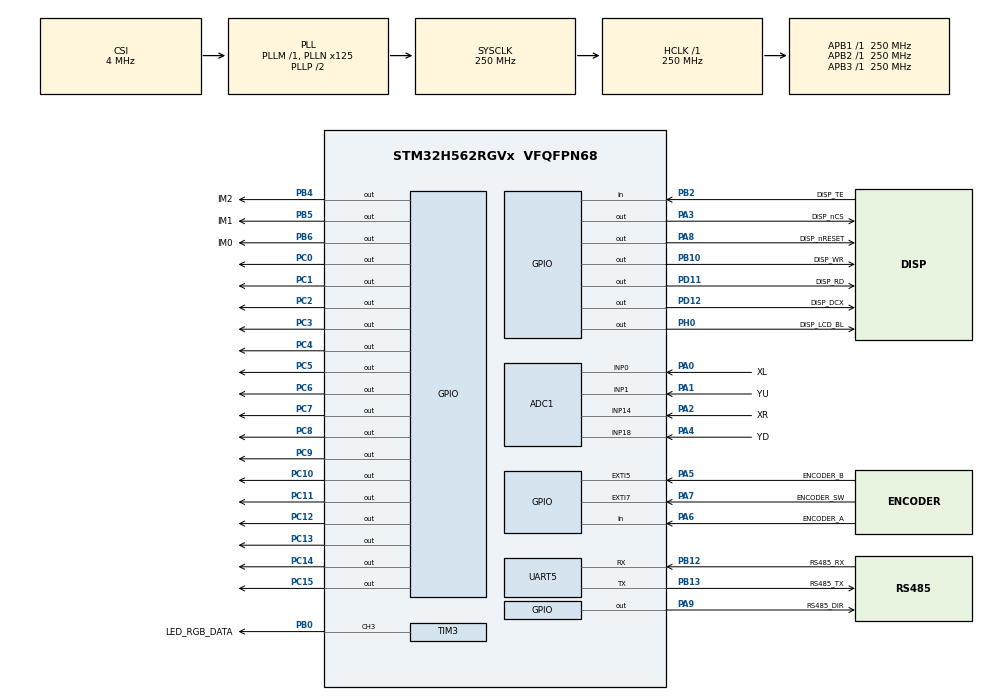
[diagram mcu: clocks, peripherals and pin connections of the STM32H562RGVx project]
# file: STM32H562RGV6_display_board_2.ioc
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ADC1.Channel-1\#ChannelRegularConversion=ADC_CHANNEL_0
ADC1.MonitoredBy-1\#ChannelRegularConversion=__NULL
ADC1.NbrOfConversionFlag=1
ADC1.OffsetNumber-1\#ChannelRegularConversion=ADC_OFFSET_NONE
ADC1.Rank-1\#ChannelRegularConversion=1
ADC1.SamplingTime-1\#ChannelRegularConversion=ADC_SAMPLETIME_2CYCLES_5
ADC1.master=1
BOOTPATH.BootPathName=LEGACY
BOOTPATH.UserSelectedBootPath=LEGACY
CORTEX_M33_NS.userName=CORTEX_M33
GPDMA1.DESTINC_GPDMACH0=DMA_DINC_FIXED
GPDMA1.DIRECTION_GPDMACH0=DMA_MEMORY_TO_PERIPH
GPDMA1.DIRECTION_GPDMACH2=DMA_MEMORY_TO_PERIPH
GPDMA1.IPHANDLE_GPDMACH0-SIMPLEREQUEST_GPDMACH0=__NULL
GPDMA1.IPHANDLE_GPDMACH2-SIMPLEREQUEST_GPDMACH2=__NULL
GPDMA1.REQUEST_GPDMACH0=GPDMA1_REQUEST_UART5_TX
GPDMA1.REQUEST_GPDMACH2=GPDMA1_REQUEST_TIM3_CH3
GPDMA1.SRCINC_GPDMACH0=DMA_SINC_INCREMENTED
GPDMA1.SRCINC_GPDMACH2=DMA_SINC_INCREMENTED
Mcu.Family=STM32H5
Mcu.Name=STM32H562RGVx
Mcu.Package=VFQFPN68
NVIC.EXTI5_IRQn=true\:15\:0\:true\:false\:true\:true\:true\:true
NVIC.EXTI7_IRQn=true\:0\:0\:false\:false\:true\:true\:true\:true
NVIC.GPDMA1_Channel0_IRQn=true\:0\:0\:false\:false\:true\:false\:true\:true
NVIC.GPDMA1_Channel2_IRQn=true\:0\:0\:false\:false\:true\:false\:true\:true
NVIC.PriorityGroup=NVIC_PRIORITYGROUP_4
NVIC.TIM1_UP_IRQn=true\:0\:0\:false\:false\:true\:true\:true\:true
NVIC.TIM6_IRQn=true\:0\:0\:false\:false\:true\:true\:true\:true
NVIC.UART5_IRQn=true\:0\:0\:true\:false\:true\:true\:true\:true
PA0.GPIO_Label=XL
PA0.Signal=ADCx_INP0
PA1.GPIO_Label=YU
PA1.Signal=ADCx_INP1
PA13(JTMS/SWDIO).Mode=Trace_Asynchronous_SW
PA13(JTMS/SWDIO).Signal=DEBUG_JTMS-SWDIO
PA14(JTCK/SWCLK).Mode=Trace_Asynchronous_SW
PA14(JTCK/SWCLK).Signal=DEBUG_JTCK-SWCLK
PA2.GPIO_Label=XR
PA2.Signal=ADCx_INP14
PA3.GPIO_Label=DISP_nCS
PA3.Signal=GPIO_Output
PA4.GPIO_Label=YD
PA4.Signal=ADCx_INP18
PA5.GPIO_Label=ENCODER_B
PA5.GPIO_ModeDefaultEXTI=GPIO_MODE_IT_FALLING
PA5.GPIO_PuPd=GPIO_PULLUP
PA5.Signal=GPXTI5
PA6.GPIO_Label=ENCODER_A
PA6.GPIO_PuPd=GPIO_PULLUP
PA6.Signal=GPIO_Input
PA7.GPIO_Label=ENCODER_SW
PA7.GPIO_ModeDefaultEXTI=GPIO_MODE_IT_FALLING
PA7.GPIO_PuPd=GPIO_PULLUP
PA7.Signal=GPXTI7
PA8.GPIO_Label=DISP_nRESET
PA8.PinState=GPIO_PIN_SET
PA8.Signal=GPIO_Output
PA9.GPIO_Label=RS485_DIR
PA9.Signal=GPIO_Output
PB0.GPIO_Label=LED_RGB_DATA
PB0.Signal=S_TIM3_CH3
PB10.GPIO_Label=DISP_WR
PB10.GPIO_Speed=GPIO_SPEED_FREQ_VERY_HIGH
PB10.PinState=GPIO_PIN_SET
PB10.Signal=GPIO_Output
PB12.GPIO_Label=RS485_RX
PB12.Mode=Asynchronous
PB12.Signal=UART5_RX
PB13.GPIO_Label=RS485_TX
PB13.Mode=Asynchronous
PB13.Signal=UART5_TX
PB2.GPIO_Label=DISP_TE
PB2.Signal=GPIO_Input
PB3(JTDO/TRACESWO).Mode=Trace_Asynchronous_SW
PB3(JTDO/TRACESWO).Signal=DEBUG_JTDO-SWO
PB4(NJTRST).GPIO_Label=IM2
PB4(NJTRST).GPIO_PuPd=GPIO_PULLDOWN
PB4(NJTRST).Signal=GPIO_Output
PB5.GPIO_Label=IM1
PB5.GPIO_PuPd=GPIO_PULLUP
PB5.PinState=GPIO_PIN_SET
PB5.Signal=GPIO_Output
PB6.GPIO_Label=IM0
PB6.GPIO_PuPd=GPIO_PULLUP
PB6.PinState=GPIO_PIN_SET
PB6.Signal=GPIO_Output
PC0.GPIO_Speed=GPIO_SPEED_FREQ_VERY_HIGH
PC0.Signal=GPIO_Output
PC1.GPIO_Speed=GPIO_SPEED_FREQ_VERY_HIGH
PC1.Signal=GPIO_Output
PC10.GPIO_Speed=GPIO_SPEED_FREQ_VERY_HIGH
PC10.Signal=GPIO_Output
PC11.GPIO_Speed=GPIO_SPEED_FREQ_VERY_HIGH
PC11.Signal=GPIO_Output
PC12.GPIO_Speed=GPIO_SPEED_FREQ_VERY_HIGH
PC12.Signal=GPIO_Output
PC13.GPIO_Speed=GPIO_SPEED_FREQ_LOW
PC13.Signal=GPIO_Output
PC14-OSC32_IN(OSC32_IN).Signal=GPIO_Output
PC15-OSC32_OUT(OSC32_OUT).Signal=GPIO_Output
PC2.GPIO_Speed=GPIO_SPEED_FREQ_VERY_HIGH
PC2.Signal=GPIO_Output
PC3.GPIO_Speed=GPIO_SPEED_FREQ_VERY_HIGH
PC3.Signal=GPIO_Output
PC4.GPIO_Speed=GPIO_SPEED_FREQ_VERY_HIGH
PC4.Signal=GPIO_Output
PC5.GPIO_Speed=GPIO_SPEED_FREQ_VERY_HIGH
PC5.Signal=GPIO_Output
PC6.GPIO_Speed=GPIO_SPEED_FREQ_VERY_HIGH
PC6.Signal=GPIO_Output
PC7.GPIO_Speed=GPIO_SPEED_FREQ_VERY_HIGH
PC7.Signal=GPIO_Output
PC8.GPIO_Speed=GPIO_SPEED_FREQ_VERY_HIGH
PC8.Signal=GPIO_Output
PC9.GPIO_Speed=GPIO_SPEED_FREQ_VERY_HIGH
PC9.Signal=GPIO_Output
PD11.GPIO_Label=DISP_RD
PD11.GPIO_Speed=GPIO_SPEED_FREQ_VERY_HIGH
PD11.PinState=GPIO_PIN_SET
PD11.Signal=GPIO_Output
PD12.GPIO_Label=DISP_DCX
PD12.GPIO_Speed=GPIO_SPEED_FREQ_VERY_HIGH
PD12.PinState=GPIO_PIN_SET
PD12.Signal=GPIO_Output
PH0-OSC_IN(PH0).GPIO_Label=DISP_LCD_BL
PH0-OSC_IN(PH0).Signal=GPIO_Output
ProjectManager.HeapSize=0x200
ProjectManager.StackSize=0x400
ProjectManager.TargetToolchain=STM32CubeIDE
RCC.ADCCLockSelection=RCC_ADCDACCLKSOURCE_HSI
RCC.ADCFreq_Value=32000000
RCC.AHBFreq_Value=250000000
RCC.APB1Freq_Value=250000000
RCC.APB1TimFreq_Value=250000000
RCC.APB2Freq_Value=250000000
RCC.APB2TimFreq_Value=250000000
RCC.APB3Freq_Value=250000000
RCC.CSI_VALUE=4000000
RCC.CortexFreq_Value=250000000
RCC.EPOD_VALUE=4000000
RCC.HCLKFreq_Value=250000000
RCC.HSE_VALUE=25000000
RCC.HSI48_VALUE=48000000
RCC.HSI_VALUE=64000000
RCC.LSE_VALUE=32768
RCC.LSIRC_VALUE=32000
RCC.PLL2FRACN=0
RCC.PLL3FRACN=0
RCC.PLLFRACN=0
RCC.PLLN=125
RCC.SYSCLKFreq_VALUE=250000000
RCC.SYSCLKSource=RCC_SYSCLKSOURCE_PLLCLK
RCC.USBFreq_Value=48000000
RCC.VCOOutputFreq_Value=500000000
SH.ADCx_INP0.0=ADC1_INP0,IN0-Single-Ended
SH.ADCx_INP1.0=ADC1_INP1,IN1-Single-Ended
SH.ADCx_INP14.0=ADC1_INP14,IN14-Single-Ended
SH.ADCx_INP18.0=ADC1_INP18,IN18-Single-Ended
SH.S_TIM3_CH3.0=TIM3_CH3,PWM Generation3 CH3
TIM1.PeriodNoDither=10000-1
TIM1.Prescaler=25000-1
TIM3.Channel-PWM\ Generation3\ CH3=TIM_CHANNEL_3
TIM3.PeriodNoDither=100-1
TIM3.Prescaler=2
TIM6.AutoReloadPreload=TIM_AUTORELOAD_PRELOAD_DISABLE
TIM6.PeriodNoDither=1000-1
TIM6.Prescaler=25000-1
UART5.Parity=PARITY_EVEN
UART5.WordLength=WORDLENGTH_9B
VP_BOOTPATH_VS_BOOTPATH.Mode=BP_Activate
VP_CORTEX_M33_NS_VS_Hclk.Mode=Hclk_Mode
VP_DCACHE1_VS_DCACHE.Mode=DCACHE_Activate
VP_GPDMA1_VS_GPDMACH0.Mode=SIMPLEREQUEST_GPDMACH0
VP_GPDMA1_VS_GPDMACH2.Mode=SIMPLEREQUEST_GPDMACH2
VP_ICACHE_VS_ENABLE_ICACHE_MEMORY.Mode=Memoryregions
VP_ICACHE_VS_ICACHE.Mode=DefaultMode
VP_MEMORYMAP_VS_MEMORYMAP.Mode=CurAppReg
VP_PWR_VS_DBSignals.Mode=DisableDeadBatterySignals
VP_PWR_VS_LPOM.Mode=PowerOptimisation
VP_PWR_VS_SECSignals.Mode=Security/Privilege
VP_TIM1_VS_ClockSourceINT.Mode=Internal
VP_TIM3_VS_ClockSourceINT.Mode=Internal
VP_TIM6_VS_ClockSourceINT.Mode=Enable_Timer
board=custom

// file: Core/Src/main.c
/* USER CODE BEGIN Header */
/**
 ******************************************************************************
 * @file           : main.c
 * @brief          : Main program body
 ******************************************************************************
 * @attention
 *
 * Copyright (c) 2025 STMicroelectronics.
 * All rights reserved.
 *
 * This software is licensed under terms that can be found in the LICENSE file
 * in the root directory of this software component.
 * If no LICENSE file comes with this software, it is provided AS-IS.
 *
 ******************************************************************************
 */
/* USER CODE END Header */
#include "main.h"

/* USER CODE BEGIN Includes */
#include "stm32h5xx_hal.h"
#include "stm32h5xx_it.h"

#include "global_variables.h"
#include "ili9488.h"
#include "GUI.h"
#include "modbus.h"
#include "ws2812.h"

#include <stdio.h>

/* USER CODE END Includes */

ADC_HandleTypeDef hadc1;

DCACHE_HandleTypeDef hdcache1;

TIM_HandleTypeDef htim1;
TIM_HandleTypeDef htim3;
TIM_HandleTypeDef htim6;
DMA_HandleTypeDef handle_GPDMA1_Channel2;

UART_HandleTypeDef huart5;
DMA_HandleTypeDef handle_GPDMA1_Channel0;

/* USER CODE BEGIN PV */

struct BMS_data_structure BMS_no1; // this structure holds all data read from BMS

// variables for rotary encoder
// Debounce delay times (in milliseconds)
#define AB_DEBOUNCE_DELAY_MS 50  // Short debounce for encoder A/B transitions
#define SW_DEBOUNCE_DELAY_MS 200 // Longer debounce for encoder push button

// Variables to track encoder position and debounce timing
volatile int16_t encoder_position = 0;
volatile uint8_t last_encoder_state = 0;
volatile uint32_t last_interrupt_time = 0; // Timestamp of last encoder A/B interrupt
volatile uint32_t last_sw_press_time = 0;  // Timestamp of last button press

// GUI variables
volatile uint8_t current_gui_screen = 1; // what GUI screen is now shown on LCD
volatile uint8_t new_gui_screen = 0;     // what GUI screen is now shown on LCD

// MODBUS variables

#ifdef LCD_IS_MODBUS_MASTER
uint8_t byte;
uint8_t response_buffer[UART_RX_BUFFER_SIZE];
volatile uint16_t response_index = 0;
volatile uint8_t modbus_receiving = 0;

// Dummy register storage
uint16_t modbus_registers[UART_RX_BUFFER_SIZE]; // Simulate up to 125 holding registers (max per Modbus spec)
#endif

// RGB led colors
uint32_t LED_colors[WS2812_LED_COUNT];

/* USER CODE END PV */

void SystemClock_Config(void);
static void MX_GPIO_Init(void);
static void MX_GPDMA1_Init(void);
static void MX_UART5_Init(void);
static void MX_ICACHE_Init(void);
static void MX_ADC1_Init(void);
static void MX_DCACHE1_Init(void);
static void MX_TIM1_Init(void);
static void MX_TIM6_Init(void);
static void MX_TIM3_Init(void);

/* USER CODE BEGIN 0 */

void Set_BMS_dummy_values(void)
{
  // set some dummy variables
  BMS_no1.SOC = 501;                   // in 0.1 percent
  BMS_no1.Stack_Voltage_mV = 55123;    // in mV
  BMS_no1.current_userA = 22666;       // in 0.01A
  BMS_no1.Power_W = 288;               // in W
  BMS_no1.Internal_Temperature_C = 23; // in deg C

  BMS_no1.Cell_1_voltage_mV = 1;   // in mV
  BMS_no1.Cell_2_voltage_mV = 2;   // in mV
  BMS_no1.Cell_3_voltage_mV = 3;   // in mV
  BMS_no1.Cell_4_voltage_mV = 4;   // in mV
  BMS_no1.Cell_5_voltage_mV = 5;   // in mV
  BMS_no1.Cell_6_voltage_mV = 6;   // in mV
  BMS_no1.Cell_7_voltage_mV = 7;   // in mV
  BMS_no1.Cell_8_voltage_mV = 8;   // in mV
  BMS_no1.Cell_9_voltage_mV = 9;   // in mV
  BMS_no1.Cell_10_voltage_mV = 10; // in mV
  BMS_no1.Cell_11_voltage_mV = 11; // in mV
  BMS_no1.Cell_12_voltage_mV = 12; // in mV
  BMS_no1.Cell_13_voltage_mV = 13; // in mV
  BMS_no1.Cell_14_voltage_mV = 14; // in mV
  BMS_no1.Cell_15_voltage_mV = 15; // in mV
  BMS_no1.Cell_16_voltage_mV = 16; // in mV
}

// ONE second timer
/*
void TIM1_BRK_UP_TRG_COM_IRQHandler(void)
{
    HAL_TIM_IRQHandler(&htim1);
}
*/

void HAL_TIM_PeriodElapsedCallback(TIM_HandleTypeDef *htim)
{
  // TIM1 calls every 1 second a periodic update
  // updates LCD etc.
  if (htim->Instance == TIM1)
  {
    if (current_gui_screen == 1)
    {
      if (new_gui_screen == 1)
      {
        ILI9488_FillScreen(BLACK); // redraw background color
        new_gui_screen = 0;
      }
      Plot_GUI_screen_2();
    }

    if (current_gui_screen == 2)
    {
      if (new_gui_screen == 1)
      {
        ILI9488_FillScreen(BLUE); // redraw background color
        new_gui_screen = 0;
      }
      Plot_GUI_screen_3();
    }

    // dummy update as demo
    // BMS_no1.SOC = BMS_no1.SOC + 1 ;

    // change RGB led color
    // to a random color
    // ws2812_send_random_color();	// 1 LED
    // ws2812_send_random_colors();	// 3 LEDs

    // ws2812_send_random_colors_with_brightness(50); // 3 LEDs with brightness control

    // Called every 1 second
    // WS2812_Send(LED_colors);
    // WS2812_send_random_colors();
    WS2812_send_random_colors_with_brightness(255); // LEDs with brightness control

#ifdef LCD_IS_MODBUS_MASTER
                                                    // LCD is MODBUS master
    Modbus_Request_ReadRegisters(0, 22); // Read first 22 registers from slave
#endif
  }

#ifdef LCD_IS_MODBUS_MASTER
  // LCD is MODBUS master
  // TIM6 handles UART receive IDLE line detection
  // after a MODBUS frame is received
  // when the line becomes idle after 100ms
  // the MODBUS packet is processed
  if (htim->Instance == TIM6 && modbus_receiving)
  {
    modbus_receiving = 0;
    HAL_TIM_Base_Stop_IT(&htim6);

    // Now the Modbus response is assumed complete

    Modbus_Response_Handler(response_buffer, response_index);
  }
#endif
}

// functions for rotary encoder

// Interrupt handler for encoder and button
// ENCODER SW resets encoder_position on FALLING EDGE
// ENCODER_A falling edge handler
/*
void HAL_GPIO_EXTI_Falling_Callback(uint16_t GPIO_Pin)
{
     uint32_t current_time = HAL_GetTick();

      // Encoder button (switch)
      if (GPIO_Pin == ENCODER_SW_Pin)
      {
          if (current_time - last_interrupt_time >= SW_DEBOUNCE_DELAY_MS)
          {
              last_interrupt_time = current_time;
              encoder_position = 0;
          }
          return;
      }

      // Handle A or B falling edge
      if (GPIO_Pin == ENCODER_A_Pin || GPIO_Pin == ENCODER_B_Pin)
      {
          if (current_time - last_interrupt_time >= AB_DEBOUNCE_DELAY_MS)
          {
              last_interrupt_time = current_time;

              uint8_t current_state = read_encoder_state();
              uint8_t combined = (last_encoder_state << 2) | current_state;

              switch (combined)
              {
                  case 0b0001:
                  case 0b0111:
                  case 0b1110:
                  case 0b1000:
                      encoder_position++;
                      break;

                  case 0b0010:
                  case 0b0100:
                  case 0b1101:
                  case 0b1011:
                      encoder_position--;
                      break;

                  default:
                      // Invalid transition (bouncing?) – ignore
                      break;
              }

              last_encoder_state = current_state;
          }
      }
}
*/

void HAL_GPIO_EXTI_Falling_Callback(uint16_t GPIO_Pin)
{
  if (GPIO_Pin == ENCODER_SW_Pin) // ENCODER SW pressed
  {
    uint32_t current_time = HAL_GetTick();
    if (current_time - last_interrupt_time >= SW_DEBOUNCE_DELAY_MS)
    {
      last_interrupt_time = current_time;
      encoder_position = 0; // zero encoder position

      // switch current gui screen
      current_gui_screen++;
      if (current_gui_screen > 2)
      {
        current_gui_screen = 1;
      }

      new_gui_screen = 1;
    }
  }

  if (GPIO_Pin == ENCODER_B_Pin) // ENCODER_B changed
  {
    uint32_t current_time = HAL_GetTick();

    // Debounce check
    if (current_time - last_interrupt_time >= AB_DEBOUNCE_DELAY_MS)
    {
      last_interrupt_time = current_time;

      GPIO_PinState a = HAL_GPIO_ReadPin(ENCODER_A_GPIO_Port, ENCODER_A_Pin);
      if (a == GPIO_PIN_SET)
      {
        encoder_position--; // counter clock wise
      }
      else
      {
        encoder_position++; // clock wise
      }
    }
  }
}

/* USER CODE END 0 */

int main(void)
{

  /* MCU Configuration--------------------------------------------------------*/

  /* Reset of all peripherals, Initializes the Flash interface and the Systick. */
  HAL_Init();

  /* Configure the system clock */
  SystemClock_Config();

  /* Initialize all configured peripherals */
  MX_GPIO_Init();
  MX_GPDMA1_Init();
  MX_UART5_Init();
  MX_ICACHE_Init();
  MX_ADC1_Init();
  MX_DCACHE1_Init();
  MX_TIM1_Init();
  MX_TIM6_Init();
  MX_TIM3_Init();
  /* USER CODE BEGIN 2 */

  // assign some RGB led colors for start
  LED_colors[0] = WS2812_RED;
  LED_colors[1] = WS2812_GREEN;
  LED_colors[2] = WS2812_BLUE;
  // LED_colors[WS2812_RED, WS2812_GREEN, WS2812_BLUE];
  WS2812_Send(LED_colors);

  // ws2812_init();					// initialize RGB led

  // TIM2->CNT = 0xFFFFFFF0;

  Set_BMS_dummy_values(); // set some dummy values to variable

  // uint32_t Timer_Clock_Frequency = HAL_RCC_GetPCLK1Freq();	// get what it the set timer frequency

  /*
    // set display mode to 8-bit mode MIPI-DBI
    HAL_GPIO_WritePin(IM0_GPIO_Port, IM0_Pin, GPIO_PIN_SET);
    HAL_GPIO_WritePin(IM1_GPIO_Port, IM1_Pin, GPIO_PIN_SET);
    HAL_GPIO_WritePin(IM2_GPIO_Port, IM2_Pin, GPIO_PIN_RESET);
  */

  // set display mode to 16-bit mode MIPI-DBI
  HAL_GPIO_WritePin(IM0_GPIO_Port, IM0_Pin, GPIO_PIN_RESET);
  HAL_Delay(10);
  HAL_GPIO_WritePin(IM1_GPIO_Port, IM1_Pin, GPIO_PIN_SET);
  HAL_Delay(10);
  HAL_GPIO_WritePin(IM2_GPIO_Port, IM2_Pin, GPIO_PIN_RESET);
  HAL_Delay(10);

  // enable LCD back-light
  HAL_GPIO_WritePin(DISP_LCD_BL_GPIO_Port, DISP_LCD_BL_Pin, GPIO_PIN_SET);
  HAL_Delay(10);
  // initialize LCD
  ILI9488_Init();

  // display introduction screen
  Plot_GUI_screen_1();
  HAL_Delay(5000);

  // test GUI screen, display temperature and time
  Plot_Touchscreen_Temperature_Screen(16, 2025, 11, 25, 8, 32, 25);
  HAL_Delay(5000);

  Plot_Touchscreen_Schedule_Screen(2025, 11, 26, 19, 47, 33);
  HAL_Delay(5000);

  Plot_Touchscreen_AddSchedule_Screen(2025, 11, 26, 19, 47, 33);
  HAL_Delay(5000);

  // Schedule wizard demonstration (multi-step)
  Plot_Touchscreen_ScheduleWizard_Day(2025, 11, 26, 19, 47, 33, 0);
  HAL_Delay(3000);
  Plot_Touchscreen_ScheduleWizard_Time(2025, 11, 26, 19, 47, 33, 0, 9, 0);
  HAL_Delay(5000);

  Plot_Touchscreen_ScheduleWizard_Temperature(2025, 11, 26, 19, 47, 33, 250, 0, 9, 0);
  HAL_Delay(5000);

  Plot_Touchscreen_ScheduleWizard_Name(2025, 11, 26, 19, 47, 33, "Morning Warmup", 250, 0, 9, 0);
  HAL_Delay(5000);

  // prepare for normal run with black LCd background
  ILI9488_FillScreen(BLACK);

  HAL_TIM_Base_Start_IT(&htim1); // start ONE second time
  HAL_Delay(10);

  /* USER CODE END 2 */

  /* Infinite loop */
  while (1)
  {

    /* USER CODE BEGIN 3 */

    /*
      HAL_Delay(1000);
      ILI9488_FillScreen(GRAY);
      ILI9488_FillScreen(BLACK);
      ILI9488_FillScreen(BLUE);
      ILI9488_FillScreen(RED);
      ILI9488_FillScreen(GREEN);
      ILI9488_FillScreen(WHITE);
      ILI9488_FillScreen(MAGENTA);
      ILI9488_FillScreen(YELLOW);
      ILI9488_FillScreen(CYAN);
      ILI9488_FillScreen(GRAY);
*/

    /*
          HAL_Delay(1000);
          ILI9488_FilledRectangle(100, 100, 250, 200,RED);
          HAL_Delay(1000);
          ILI9488_DrawPixel(300, 300, YELLOW);
          HAL_Delay(1000);
          ILI9488_DrawChar(200, 200, 5, '4', GREEN, BLUE);
          HAL_Delay(1000);
          ILI9488_DrawString(100, 100, 3, "Test ABCD 0123456789", WHITE, MAGENTA);
          HAL_Delay(3000);
    */

    // Plot_GUI_screen_1();
    // HAL_Delay(5000);
    // Plot_GUI_screen_2();
    // HAL_Delay(5000);

    // display encoder
    // ILI9488_FilledRectangle(0, 350, 100, 420,BLACK); // overwrite background

    char buffer[50]; // buffer for strings
    sprintf(buffer, "%+06d", encoder_position);
    ILI9488_DrawString(350, 0, 3, buffer, WHITE, BLACK);
    HAL_Delay(10);
  }
  /* USER CODE END 3 */
}

void SystemClock_Config(void)
{
  RCC_OscInitTypeDef RCC_OscInitStruct = {0};
  RCC_ClkInitTypeDef RCC_ClkInitStruct = {0};

  /** Configure the main internal regulator output voltage
   */
  __HAL_PWR_VOLTAGESCALING_CONFIG(PWR_REGULATOR_VOLTAGE_SCALE0);

  while (!__HAL_PWR_GET_FLAG(PWR_FLAG_VOSRDY))
  {
  }

  /** Initializes the RCC Oscillators according to the specified parameters
   * in the RCC_OscInitTypeDef structure.
   */
  RCC_OscInitStruct.OscillatorType = RCC_OSCILLATORTYPE_HSI | RCC_OSCILLATORTYPE_CSI;
  RCC_OscInitStruct.HSIState = RCC_HSI_ON;
  RCC_OscInitStruct.HSIDiv = RCC_HSI_DIV2;
  RCC_OscInitStruct.HSICalibrationValue = RCC_HSICALIBRATION_DEFAULT;
  RCC_OscInitStruct.CSIState = RCC_CSI_ON;
  RCC_OscInitStruct.CSICalibrationValue = RCC_CSICALIBRATION_DEFAULT;
  RCC_OscInitStruct.PLL.PLLState = RCC_PLL_ON;
  RCC_OscInitStruct.PLL.PLLSource = RCC_PLL1_SOURCE_CSI;
  RCC_OscInitStruct.PLL.PLLM = 1;
  RCC_OscInitStruct.PLL.PLLN = 125;
  RCC_OscInitStruct.PLL.PLLP = 2;
  RCC_OscInitStruct.PLL.PLLQ = 2;
  RCC_OscInitStruct.PLL.PLLR = 2;
  RCC_OscInitStruct.PLL.PLLRGE = RCC_PLL1_VCIRANGE_2;
  RCC_OscInitStruct.PLL.PLLVCOSEL = RCC_PLL1_VCORANGE_WIDE;
  RCC_OscInitStruct.PLL.PLLFRACN = 0;
  if (HAL_RCC_OscConfig(&RCC_OscInitStruct) != HAL_OK)
  {
    Error_Handler();
  }

  /** Initializes the CPU, AHB and APB buses clocks
   */
  RCC_ClkInitStruct.ClockType = RCC_CLOCKTYPE_HCLK | RCC_CLOCKTYPE_SYSCLK | RCC_CLOCKTYPE_PCLK1 | RCC_CLOCKTYPE_PCLK2 | RCC_CLOCKTYPE_PCLK3;
  RCC_ClkInitStruct.SYSCLKSource = RCC_SYSCLKSOURCE_PLLCLK;
  RCC_ClkInitStruct.AHBCLKDivider = RCC_SYSCLK_DIV1;
  RCC_ClkInitStruct.APB1CLKDivider = RCC_HCLK_DIV1;
  RCC_ClkInitStruct.APB2CLKDivider = RCC_HCLK_DIV1;
  RCC_ClkInitStruct.APB3CLKDivider = RCC_HCLK_DIV1;

  if (HAL_RCC_ClockConfig(&RCC_ClkInitStruct, FLASH_LATENCY_5) != HAL_OK)
  {
    Error_Handler();
  }

  /** Configure the programming delay
   */
  __HAL_FLASH_SET_PROGRAM_DELAY(FLASH_PROGRAMMING_DELAY_2);
}

static void MX_ADC1_Init(void)
{

  ADC_ChannelConfTypeDef sConfig = {0};

  /** Common config
   */
  hadc1.Instance = ADC1;
  hadc1.Init.ClockPrescaler = ADC_CLOCK_ASYNC_DIV1;
  hadc1.Init.Resolution = ADC_RESOLUTION_12B;
  hadc1.Init.DataAlign = ADC_DATAALIGN_RIGHT;
  hadc1.Init.ScanConvMode = ADC_SCAN_DISABLE;
  hadc1.Init.EOCSelection = ADC_EOC_SINGLE_CONV;
  hadc1.Init.LowPowerAutoWait = DISABLE;
  hadc1.Init.ContinuousConvMode = DISABLE;
  hadc1.Init.NbrOfConversion = 1;
  hadc1.Init.DiscontinuousConvMode = DISABLE;
  hadc1.Init.ExternalTrigConv = ADC_SOFTWARE_START;
  hadc1.Init.ExternalTrigConvEdge = ADC_EXTERNALTRIGCONVEDGE_NONE;
  hadc1.Init.DMAContinuousRequests = DISABLE;
  hadc1.Init.SamplingMode = ADC_SAMPLING_MODE_NORMAL;
  hadc1.Init.Overrun = ADC_OVR_DATA_PRESERVED;
  hadc1.Init.OversamplingMode = DISABLE;
  if (HAL_ADC_Init(&hadc1) != HAL_OK)
  {
    Error_Handler();
  }

  /** Configure Regular Channel
   */
  sConfig.Channel = ADC_CHANNEL_0;
  sConfig.Rank = ADC_REGULAR_RANK_1;
  sConfig.SamplingTime = ADC_SAMPLETIME_2CYCLES_5;
  sConfig.SingleDiff = ADC_SINGLE_ENDED;
  sConfig.OffsetNumber = ADC_OFFSET_NONE;
  sConfig.Offset = 0;
  if (HAL_ADC_ConfigChannel(&hadc1, &sConfig) != HAL_OK)
  {
    Error_Handler();
  }
}

static void MX_DCACHE1_Init(void)
{

  hdcache1.Instance = DCACHE1;
  hdcache1.Init.ReadBurstType = DCACHE_READ_BURST_WRAP;
  if (HAL_DCACHE_Init(&hdcache1) != HAL_OK)
  {
    Error_Handler();
  }
}

static void MX_GPDMA1_Init(void)
{

  /* Peripheral clock enable */
  __HAL_RCC_GPDMA1_CLK_ENABLE();

  /* GPDMA1 interrupt Init */
  HAL_NVIC_SetPriority(GPDMA1_Channel0_IRQn, 0, 0);
  HAL_NVIC_EnableIRQ(GPDMA1_Channel0_IRQn);
  HAL_NVIC_SetPriority(GPDMA1_Channel2_IRQn, 0, 0);
  HAL_NVIC_EnableIRQ(GPDMA1_Channel2_IRQn);

}

static void MX_ICACHE_Init(void)
{

  /** Enable instruction cache (default 2-ways set associative cache)
   */
  if (HAL_ICACHE_Enable() != HAL_OK)
  {
    Error_Handler();
  }
}

static void MX_TIM1_Init(void)
{

  TIM_ClockConfigTypeDef sClockSourceConfig = {0};
  TIM_MasterConfigTypeDef sMasterConfig = {0};

  /* USER CODE BEGIN TIM1_Init 1 */
  // htim1.Init.Prescaler = 25000-1;  // 250MHz / 25000 = 10kHz
  // htim1.Init.CounterMode = TIM_COUNTERMODE_UP;
  // htim1.Init.Period = 10000-1;   // 10kHz / 10000 = 1Hz (1s)

  /* USER CODE END TIM1_Init 1 */
  htim1.Instance = TIM1;
  htim1.Init.Prescaler = 25000 - 1;
  htim1.Init.CounterMode = TIM_COUNTERMODE_UP;
  htim1.Init.Period = 9999;
  htim1.Init.ClockDivision = TIM_CLOCKDIVISION_DIV1;
  htim1.Init.RepetitionCounter = 0;
  htim1.Init.AutoReloadPreload = TIM_AUTORELOAD_PRELOAD_DISABLE;
  if (HAL_TIM_Base_Init(&htim1) != HAL_OK)
  {
    Error_Handler();
  }
  sClockSourceConfig.ClockSource = TIM_CLOCKSOURCE_INTERNAL;
  if (HAL_TIM_ConfigClockSource(&htim1, &sClockSourceConfig) != HAL_OK)
  {
    Error_Handler();
  }
  sMasterConfig.MasterOutputTrigger = TIM_TRGO_RESET;
  sMasterConfig.MasterOutputTrigger2 = TIM_TRGO2_RESET;
  sMasterConfig.MasterSlaveMode = TIM_MASTERSLAVEMODE_DISABLE;
  if (HAL_TIMEx_MasterConfigSynchronization(&htim1, &sMasterConfig) != HAL_OK)
  {
    Error_Handler();
  }
}

static void MX_TIM3_Init(void)
{

  TIM_ClockConfigTypeDef sClockSourceConfig = {0};
  TIM_MasterConfigTypeDef sMasterConfig = {0};
  TIM_OC_InitTypeDef sConfigOC = {0};

  htim3.Instance = TIM3;
  htim3.Init.Prescaler = 2;
  htim3.Init.CounterMode = TIM_COUNTERMODE_UP;
  htim3.Init.Period = 99;
  htim3.Init.ClockDivision = TIM_CLOCKDIVISION_DIV1;
  htim3.Init.AutoReloadPreload = TIM_AUTORELOAD_PRELOAD_DISABLE;
  if (HAL_TIM_Base_Init(&htim3) != HAL_OK)
  {
    Error_Handler();
  }
  sClockSourceConfig.ClockSource = TIM_CLOCKSOURCE_INTERNAL;
  if (HAL_TIM_ConfigClockSource(&htim3, &sClockSourceConfig) != HAL_OK)
  {
    Error_Handler();
  }
  if (HAL_TIM_PWM_Init(&htim3) != HAL_OK)
  {
    Error_Handler();
  }
  sMasterConfig.MasterOutputTrigger = TIM_TRGO_RESET;
  sMasterConfig.MasterSlaveMode = TIM_MASTERSLAVEMODE_DISABLE;
  if (HAL_TIMEx_MasterConfigSynchronization(&htim3, &sMasterConfig) != HAL_OK)
  {
    Error_Handler();
  }
  sConfigOC.OCMode = TIM_OCMODE_PWM1;
  sConfigOC.Pulse = 0;
  sConfigOC.OCPolarity = TIM_OCPOLARITY_HIGH;
  sConfigOC.OCFastMode = TIM_OCFAST_DISABLE;
  if (HAL_TIM_PWM_ConfigChannel(&htim3, &sConfigOC, TIM_CHANNEL_3) != HAL_OK)
  {
    Error_Handler();
  }
  HAL_TIM_MspPostInit(&htim3);
}

static void MX_TIM6_Init(void)
{

  TIM_MasterConfigTypeDef sMasterConfig = {0};

  htim6.Instance = TIM6;
  htim6.Init.Prescaler = 25000 - 1;
  htim6.Init.CounterMode = TIM_COUNTERMODE_UP;
  htim6.Init.Period = 999;
  htim6.Init.AutoReloadPreload = TIM_AUTORELOAD_PRELOAD_DISABLE;
  if (HAL_TIM_Base_Init(&htim6) != HAL_OK)
  {
    Error_Handler();
  }
  sMasterConfig.MasterOutputTrigger = TIM_TRGO_RESET;
  sMasterConfig.MasterSlaveMode = TIM_MASTERSLAVEMODE_DISABLE;
  if (HAL_TIMEx_MasterConfigSynchronization(&htim6, &sMasterConfig) != HAL_OK)
  {
    Error_Handler();
  }
}

static void MX_UART5_Init(void)
{

  huart5.Instance = UART5;
  huart5.Init.BaudRate = 115200;
  huart5.Init.WordLength = UART_WORDLENGTH_9B;
  huart5.Init.StopBits = UART_STOPBITS_1;
  huart5.Init.Parity = UART_PARITY_EVEN;
  huart5.Init.Mode = UART_MODE_TX_RX;
  huart5.Init.HwFlowCtl = UART_HWCONTROL_NONE;
  huart5.Init.OverSampling = UART_OVERSAMPLING_16;
  huart5.Init.OneBitSampling = UART_ONE_BIT_SAMPLE_DISABLE;
  huart5.Init.ClockPrescaler = UART_PRESCALER_DIV1;
  huart5.AdvancedInit.AdvFeatureInit = UART_ADVFEATURE_NO_INIT;
  if (HAL_UART_Init(&huart5) != HAL_OK)
  {
    Error_Handler();
  }
  if (HAL_UARTEx_SetTxFifoThreshold(&huart5, UART_TXFIFO_THRESHOLD_1_8) != HAL_OK)
  {
    Error_Handler();
  }
  if (HAL_UARTEx_SetRxFifoThreshold(&huart5, UART_RXFIFO_THRESHOLD_1_8) != HAL_OK)
  {
    Error_Handler();
  }
  if (HAL_UARTEx_DisableFifoMode(&huart5) != HAL_OK)
  {
    Error_Handler();
  }
}

static void MX_GPIO_Init(void)
{
  GPIO_InitTypeDef GPIO_InitStruct = {0};

  /* GPIO Ports Clock Enable */
  __HAL_RCC_GPIOC_CLK_ENABLE();
  __HAL_RCC_GPIOH_CLK_ENABLE();
  __HAL_RCC_GPIOA_CLK_ENABLE();
  __HAL_RCC_GPIOB_CLK_ENABLE();
  __HAL_RCC_GPIOD_CLK_ENABLE();

  /*Configure GPIO pin Output Level */
  HAL_GPIO_WritePin(GPIOC, GPIO_PIN_13 | GPIO_PIN_14 | GPIO_PIN_15 | GPIO_PIN_0 | GPIO_PIN_1 | GPIO_PIN_2 | GPIO_PIN_3 | GPIO_PIN_4 | GPIO_PIN_5 | GPIO_PIN_6 | GPIO_PIN_7 | GPIO_PIN_8 | GPIO_PIN_9 | GPIO_PIN_10 | GPIO_PIN_11 | GPIO_PIN_12, GPIO_PIN_RESET);

  /*Configure GPIO pin Output Level */
  HAL_GPIO_WritePin(DISP_LCD_BL_GPIO_Port, DISP_LCD_BL_Pin, GPIO_PIN_RESET);

  /*Configure GPIO pin Output Level */
  HAL_GPIO_WritePin(GPIOA, DISP_nCS_Pin | RS485_DIR_Pin, GPIO_PIN_RESET);

  /*Configure GPIO pin Output Level */
  HAL_GPIO_WritePin(GPIOB, DISP_WR_Pin | IM1_Pin | IM0_Pin, GPIO_PIN_SET);

  /*Configure GPIO pin Output Level */
  HAL_GPIO_WritePin(GPIOD, DISP_RD_Pin | DISP_DCX_Pin, GPIO_PIN_SET);

  /*Configure GPIO pin Output Level */
  HAL_GPIO_WritePin(DISP_nRESET_GPIO_Port, DISP_nRESET_Pin, GPIO_PIN_SET);

  /*Configure GPIO pin Output Level */
  HAL_GPIO_WritePin(IM2_GPIO_Port, IM2_Pin, GPIO_PIN_RESET);

  /*Configure GPIO pins : PC13 PC14 PC15 */
  GPIO_InitStruct.Pin = GPIO_PIN_13 | GPIO_PIN_14 | GPIO_PIN_15;
  GPIO_InitStruct.Mode = GPIO_MODE_OUTPUT_PP;
  GPIO_InitStruct.Pull = GPIO_NOPULL;
  GPIO_InitStruct.Speed = GPIO_SPEED_FREQ_LOW;
  HAL_GPIO_Init(GPIOC, &GPIO_InitStruct);

  /*Configure GPIO pin : DISP_LCD_BL_Pin */
  GPIO_InitStruct.Pin = DISP_LCD_BL_Pin;
  GPIO_InitStruct.Mode = GPIO_MODE_OUTPUT_PP;
  GPIO_InitStruct.Pull = GPIO_NOPULL;
  GPIO_InitStruct.Speed = GPIO_SPEED_FREQ_LOW;
  HAL_GPIO_Init(DISP_LCD_BL_GPIO_Port, &GPIO_InitStruct);

  /*Configure GPIO pins : PC0 PC1 PC2 PC3
                           PC4 PC5 PC6 PC7
                           PC8 PC9 PC10 PC11
                           PC12 */
  GPIO_InitStruct.Pin = GPIO_PIN_0 | GPIO_PIN_1 | GPIO_PIN_2 | GPIO_PIN_3 | GPIO_PIN_4 | GPIO_PIN_5 | GPIO_PIN_6 | GPIO_PIN_7 | GPIO_PIN_8 | GPIO_PIN_9 | GPIO_PIN_10 | GPIO_PIN_11 | GPIO_PIN_12;
  GPIO_InitStruct.Mode = GPIO_MODE_OUTPUT_PP;
  GPIO_InitStruct.Pull = GPIO_NOPULL;
  GPIO_InitStruct.Speed = GPIO_SPEED_FREQ_VERY_HIGH;
  HAL_GPIO_Init(GPIOC, &GPIO_InitStruct);

  /*Configure GPIO pins : DISP_nCS_Pin DISP_nRESET_Pin RS485_DIR_Pin */
  GPIO_InitStruct.Pin = DISP_nCS_Pin | DISP_nRESET_Pin | RS485_DIR_Pin;
  GPIO_InitStruct.Mode = GPIO_MODE_OUTPUT_PP;
  GPIO_InitStruct.Pull = GPIO_NOPULL;
  GPIO_InitStruct.Speed = GPIO_SPEED_FREQ_LOW;
  HAL_GPIO_Init(GPIOA, &GPIO_InitStruct);

  /*Configure GPIO pins : ENCODER_B_Pin ENCODER_SW_Pin */
  GPIO_InitStruct.Pin = ENCODER_B_Pin | ENCODER_SW_Pin;
  GPIO_InitStruct.Mode = GPIO_MODE_IT_FALLING;
  GPIO_InitStruct.Pull = GPIO_PULLUP;
  HAL_GPIO_Init(GPIOA, &GPIO_InitStruct);

  /*Configure GPIO pin : ENCODER_A_Pin */
  GPIO_InitStruct.Pin = ENCODER_A_Pin;
  GPIO_InitStruct.Mode = GPIO_MODE_INPUT;
  GPIO_InitStruct.Pull = GPIO_PULLUP;
  HAL_GPIO_Init(ENCODER_A_GPIO_Port, &GPIO_InitStruct);

  /*Configure GPIO pin : DISP_TE_Pin */
  GPIO_InitStruct.Pin = DISP_TE_Pin;
  GPIO_InitStruct.Mode = GPIO_MODE_INPUT;
  GPIO_InitStruct.Pull = GPIO_NOPULL;
  HAL_GPIO_Init(DISP_TE_GPIO_Port, &GPIO_InitStruct);

  /*Configure GPIO pin : DISP_WR_Pin */
  GPIO_InitStruct.Pin = DISP_WR_Pin;
  GPIO_InitStruct.Mode = GPIO_MODE_OUTPUT_PP;
  GPIO_InitStruct.Pull = GPIO_NOPULL;
  GPIO_InitStruct.Speed = GPIO_SPEED_FREQ_VERY_HIGH;
  HAL_GPIO_Init(DISP_WR_GPIO_Port, &GPIO_InitStruct);

  /*Configure GPIO pins : DISP_RD_Pin DISP_DCX_Pin */
  GPIO_InitStruct.Pin = DISP_RD_Pin | DISP_DCX_Pin;
  GPIO_InitStruct.Mode = GPIO_MODE_OUTPUT_PP;
  GPIO_InitStruct.Pull = GPIO_NOPULL;
  GPIO_InitStruct.Speed = GPIO_SPEED_FREQ_VERY_HIGH;
  HAL_GPIO_Init(GPIOD, &GPIO_InitStruct);

  /*Configure GPIO pin : IM2_Pin */
  GPIO_InitStruct.Pin = IM2_Pin;
  GPIO_InitStruct.Mode = GPIO_MODE_OUTPUT_PP;
  GPIO_InitStruct.Pull = GPIO_PULLDOWN;
  GPIO_InitStruct.Speed = GPIO_SPEED_FREQ_LOW;
  HAL_GPIO_Init(IM2_GPIO_Port, &GPIO_InitStruct);

  /*Configure GPIO pins : IM1_Pin IM0_Pin */
  GPIO_InitStruct.Pin = IM1_Pin | IM0_Pin;
  GPIO_InitStruct.Mode = GPIO_MODE_OUTPUT_PP;
  GPIO_InitStruct.Pull = GPIO_PULLUP;
  GPIO_InitStruct.Speed = GPIO_SPEED_FREQ_LOW;
  HAL_GPIO_Init(GPIOB, &GPIO_InitStruct);

  /* EXTI interrupt init*/
  HAL_NVIC_SetPriority(EXTI5_IRQn, 15, 0);
  HAL_NVIC_EnableIRQ(EXTI5_IRQn);

  HAL_NVIC_SetPriority(EXTI7_IRQn, 0, 0);
  HAL_NVIC_EnableIRQ(EXTI7_IRQn);

}

void Error_Handler(void)
{
  __disable_irq();
  while (1)
  {
  }
}
